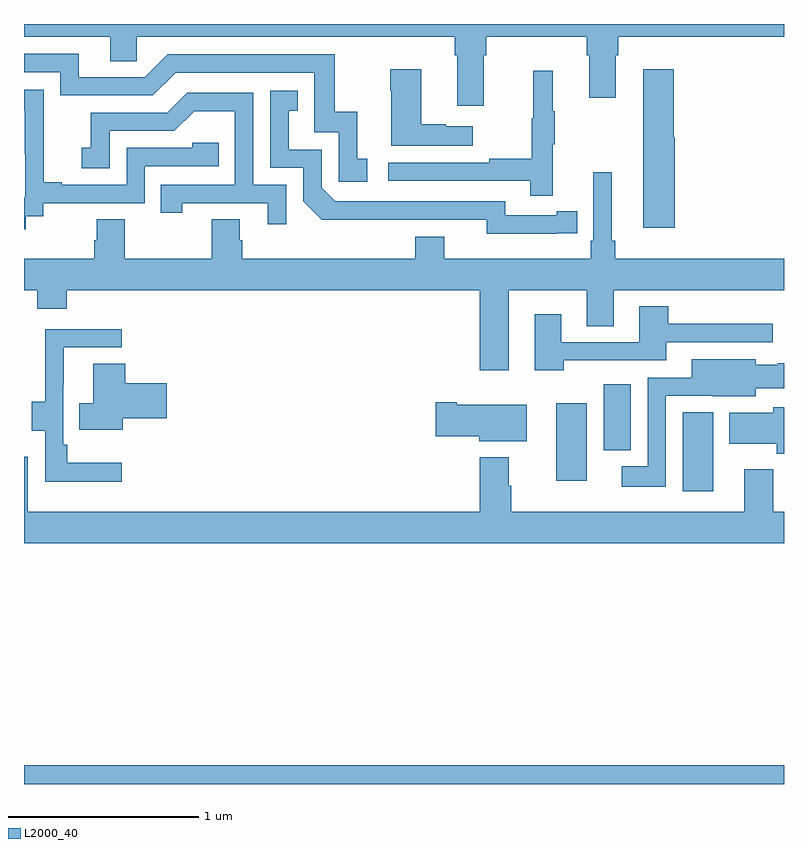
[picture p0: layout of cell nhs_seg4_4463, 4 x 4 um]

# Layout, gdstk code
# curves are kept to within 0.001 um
import gdstk
lib = gdstk.Library(unit=1e-6, precision=1e-09)
def R(c, l, rs):  # rectangles x0, y0, x1, y1
    for r in rs: c.add(gdstk.rectangle(r[:2], r[2:], *l))
def P(c, l, *ps):  # polygons
    for p in ps: c.add(gdstk.Polygon(p, *l))
L2000_40 = (2000, 40)

nhs_seg4_4463 = lib.new_cell('nhs_seg4_4463')
R(nhs_seg4_4463, L2000_40, [(351,780.9,355,781), (354.467,782.442,354.628,782.857), (353.801,782.496,353.962,782.905), (354.05,782.657,354.193,783.004)])
P(nhs_seg4_4463, L2000_40, [(353.419,784.736),(353.432,784.736),(353.432,784.832),(353.963,784.832),(353.963,784.736),(353.975,784.736),(353.975,784.512),(354.115,784.512),(354.115,784.736),(354.128,784.736),(354.128,784.832),(355,784.832),(355,784.9),(351,784.9),(351,784.832),(351.455,784.832),(351.455,784.705),(351.594,784.705),(351.594,784.832),(353.267,784.832),(353.267,784.736),(353.279,784.736),(353.279,784.47),(353.419,784.47)],
  [(352.807,784.191),(352.754,784.191),(352.754,784.438),(352.636,784.438),(352.636,784.74),(351.756,784.74),(351.636,784.62),(351.289,784.62),(351.289,784.743),(351,784.743),(351,784.647),(351.192,784.647),(351.192,784.524),(351.678,784.524),(351.798,784.644),(352.527,784.644),(352.527,784.329),(352.656,784.329),(352.656,784.071),(352.807,784.071)],
  [(353.362,784.363),(353.219,784.363),(353.219,784.373),(353.092,784.373),(353.092,784.663),(352.927,784.663),(352.927,784.55),(352.934,784.55),(352.934,784.259),(353.362,784.259)],
  [(354.424,784.305),(354.419,784.305),(354.419,784.663),(354.26,784.663),(354.26,783.828),(354.424,783.828)],
  [(353.783,784.267),(353.794,784.267),(353.794,784.441),(353.783,784.441),(353.783,784.654),(353.68,784.654),(353.68,784.404),(353.673,784.404),(353.673,784.19),(353.449,784.19),(353.449,784.17),(352.917,784.17),(352.917,784.074),(353.665,784.074),(353.665,783.996),(353.783,783.996)],
  [(351.01,783.889),(351.102,783.889),(351.102,783.957),(351.636,783.957),(351.636,784.152),(352.025,784.152),(352.025,784.275),(351.885,784.275),(351.885,784.248),(351.54,784.248),(351.54,784.053),(351.199,784.053),(351.199,784.066),(351.104,784.066),(351.104,784.349),(351.105,784.349),(351.105,784.555),(351,784.555),(351,784.445),(351.005,784.445),(351.005,784.217),(351.006,784.217),(351.006,783.987),(351,783.987),(351,783.819),(351.01,783.819)],
  [(353.804,783.798),(353.912,783.798),(353.912,783.914),(353.804,783.914),(353.804,783.894),(353.532,783.894),(353.532,783.966),(352.638,783.966),(352.566,784.038),(352.566,784.239),(352.393,784.239),(352.393,784.443),(352.442,784.443),(352.442,784.549),(352.296,784.549),(352.296,784.143),(352.47,784.143),(352.47,783.966),(352.568,783.869),(353.436,783.87),(353.436,783.797)],
  [(352.38,784.053),(352.206,784.053),(352.206,784.539),(351.86,784.539),(351.755,784.434),(351.352,784.434),(351.352,784.249),(351.303,784.249),(351.303,784.14),(351.45,784.14),(351.45,784.338),(351.792,784.338),(351.896,784.442),(352.11,784.442),(352.11,784.053),(351.721,784.053),(351.721,783.906),(351.832,783.906),(351.832,783.957),(352.283,783.957),(352.283,783.846),(352.38,783.846)],
  [(353.551,783.5),(353.963,783.5),(353.963,783.31),(354.103,783.31),(354.103,783.5),(355,783.5),(355,783.664),(354.113,783.664),(354.113,783.76),(354.094,783.76),(354.094,784.12),(353.997,784.12),(353.997,783.76),(353.984,783.76),(353.984,783.664),(353.212,783.664),(353.212,783.781),(353.06,783.781),(353.06,783.664),(352.148,783.664),(352.148,783.762),(352.135,783.762),(352.135,783.872),(351.988,783.872),(351.988,783.664),(351.531,783.664),(351.531,783.872),(351.383,783.872),(351.383,783.762),(351.371,783.762),(351.371,783.664),(351,783.664),(351,783.5),(351.071,783.5),(351.071,783.401),(351.224,783.401),(351.224,783.5),(353.399,783.5),(353.399,783.078),(353.551,783.078)],
  [(353.84,783.129),(354.379,783.129),(354.379,783.225),(354.94,783.225),(354.94,783.322),(354.392,783.322),(354.392,783.415),(354.239,783.415),(354.239,783.225),(353.827,783.225),(353.827,783.373),(353.687,783.373),(353.687,783.078),(353.84,783.078)],
  [(351.514,782.59),(351.227,782.59),(351.227,782.686),(351.207,782.686),(351.207,783.001),(351.208,783.001),(351.208,783.198),(351.514,783.198),(351.514,783.294),(351.111,783.294),(351.111,782.913),(351.041,782.913),(351.041,782.758),(351.111,782.758),(351.111,782.492),(351.514,782.492)],
  [(354.378,782.943),(354.624,782.943),(354.624,782.942),(354.85,782.942),(354.85,782.984),(355,782.984),(355,783.114),(354.966,783.114),(354.966,783.106),(354.85,783.106),(354.85,783.136),(354.515,783.136),(354.515,783.039),(354.282,783.039),(354.282,782.572),(354.147,782.572),(354.147,782.465),(354.378,782.465)],
  [(351.52,782.825),(351.751,782.825),(351.751,783.008),(351.533,783.008),(351.533,783.113),(351.365,783.113),(351.365,782.905),(351.292,782.905),(351.292,782.765),(351.52,782.765)],
  [(353.647,782.896),(353.278,782.896),(353.278,782.909),(353.166,782.909),(353.166,782.731),(353.396,782.731),(353.396,782.705),(353.647,782.705)],
  [(355,782.884),(354.943,782.884),(354.943,782.854),(354.713,782.854),(354.713,782.69),(354.962,782.69),(354.962,782.638),(355,782.638)],
  [(355,782.332),(354.944,782.332),(354.944,782.557),(354.791,782.557),(354.791,782.332),(353.564,782.332),(353.564,782.471),(353.551,782.471),(353.551,782.62),(353.399,782.62),(353.399,782.332),(351.021,782.332),(351.021,782.623),(351,782.623),(351,782.168),(355,782.168)])

lib.write_gds('nhs_seg4_4463.gds')
